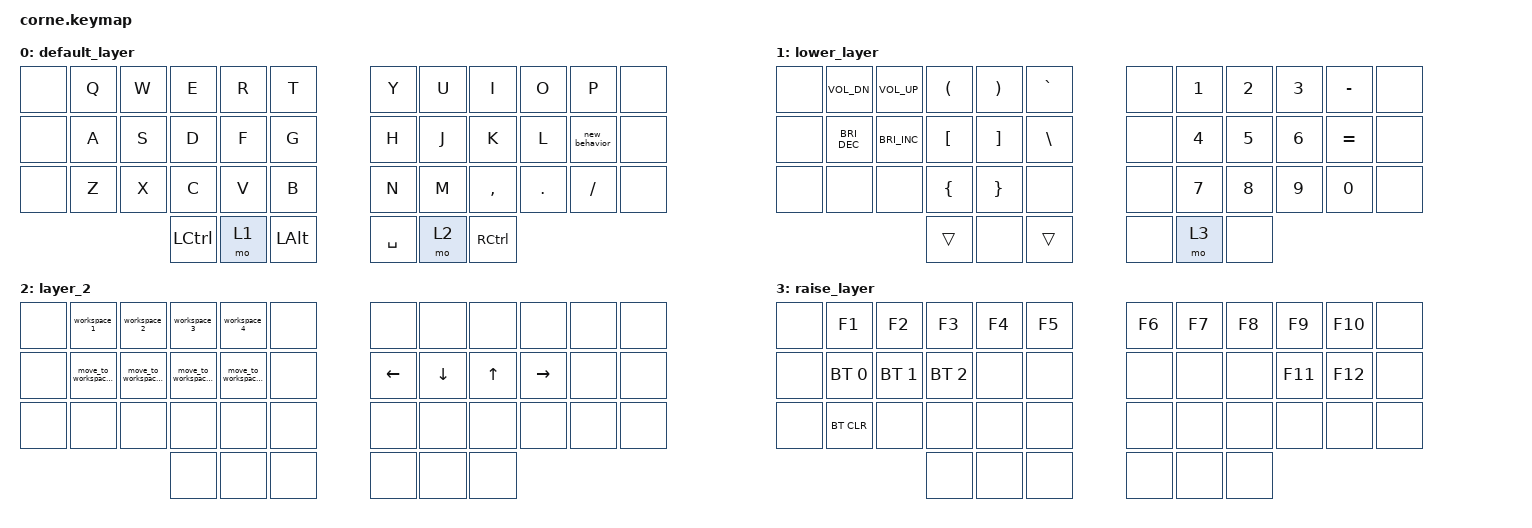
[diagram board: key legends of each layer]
/*
 * Copyright (c) 2020 The ZMK Contributors
 *
 * SPDX-License-Identifier: MIT
 */

#include <behaviors.dtsi>
#include <dt-bindings/zmk/bt.h>
#include <dt-bindings/zmk/keys.h>

/ {
    combos {
        compatible = "zmk,combos";

        Enter {
            bindings = <&kp ENTER>;
            key-positions = <22 21>;
        };

        Esc {
            bindings = <&kp ESC>;
            key-positions = <1 2>;
        };

        Tab {
            bindings = <&kp TAB>;
            key-positions = <13 14>;
        };

        Backspace {
            bindings = <&kp BACKSPACE>;
            key-positions = <10 9>;
        };

        left_shift {
            bindings = <&kp LEFT_SHIFT>;
            key-positions = <25 26>;
        };

        right_shift {
            bindings = <&kp RIGHT_SHIFT>;
            key-positions = <34 33>;
        };
    };

    macros {
        move_to_workspace_1: new_macro {
            compatible = "zmk,behavior-macro";
            #binding-cells = <0>;
            bindings = <&kp LS(LA(NUMBER_1))>;
            label = "NEW_MACRO";
        };

        move_to_workspace_2: move_to_workspace_2 {
            compatible = "zmk,behavior-macro";
            #binding-cells = <0>;
            bindings = <&kp LS(LA(NUMBER_2))>;
            label = "MOVE_TO_WORKSPACE_2";
        };

        move_to_workspace_3: move_to_workspace_3 {
            compatible = "zmk,behavior-macro";
            #binding-cells = <0>;
            bindings = <&kp LS(LA(NUMBER_3))>;
            label = "MOVE_TO_WORKSPACE_3";
        };

        move_to_workspace_4: move_to_workspace_4 {
            compatible = "zmk,behavior-macro";
            #binding-cells = <0>;
            bindings = <&kp LS(LA(NUMBER_4))>;
            label = "MOVE_TO_WORKSPACE_4";
        };

        workspace_1: workspace_1 {
            compatible = "zmk,behavior-macro";
            #binding-cells = <0>;
            bindings = <&kp LA(NUMBER_1)>;
            label = "WORKSPACE_1";
        };

        workspace_2: workspace_2 {
            compatible = "zmk,behavior-macro";
            #binding-cells = <0>;
            bindings = <&kp LA(NUMBER_2)>;
            label = "WORKSPACE_2";
        };

        workspace_3: workspace_3 {
            compatible = "zmk,behavior-macro";
            #binding-cells = <0>;
            bindings = <&kp LA(NUMBER_3)>;
            label = "WORKSPACE_3";
        };

        workspace_4: workspace_4 {
            compatible = "zmk,behavior-macro";
            #binding-cells = <0>;
            bindings = <&kp LA(NUMBER_4)>;
            label = "WORKSPACE_4";
        };
    };

    behaviors {
        new_behavior: new_behavior {
            compatible = "zmk,behavior-tap-dance";
            label = "NEW_BEHAVIOR";
            #binding-cells = <0>;
            bindings = <&kp SEMICOLON>, <&kp SQT>, <&kp DOUBLE_QUOTES>;

            tapping-term-ms = <400>;
        };
    };

    keymap {
        compatible = "zmk,keymap";

        default_layer {
            bindings = <
&none  &kp Q  &kp W  &kp E      &kp R  &kp T           &kp Y      &kp U  &kp I      &kp O    &kp P          &none
&none  &kp A  &kp S  &kp D      &kp F  &kp G           &kp H      &kp J  &kp K      &kp L    &new_behavior  &none
&none  &kp Z  &kp X  &kp C      &kp V  &kp B           &kp N      &kp M  &kp COMMA  &kp DOT  &kp FSLH       &none
                     &kp LCTRL  &mo 1  &kp LEFT_ALT    &kp SPACE  &mo 2  &kp RCTRL
            >;
        };

        lower_layer {
            bindings = <
&none  &kp C_VOL_DN   &kp C_VOLUME_UP       &kp LPAR  &kp RPAR  &kp GRAVE        &none  &kp NUMBER_1  &kp NUMBER_2  &kp NUMBER_3  &kp MINUS     &none
&none  &kp C_BRI_DEC  &kp C_BRIGHTNESS_INC  &kp LBKT  &kp RBKT  &kp BACKSLASH    &none  &kp NUMBER_4  &kp NUMBER_5  &kp NUMBER_6  &kp EQUAL     &none
&none  &none          &none                 &kp LBRC  &kp RBRC  &none            &none  &kp NUMBER_7  &kp NUMBER_8  &kp NUMBER_9  &kp NUMBER_0  &none
                                            &trans    &none     &trans           &none  &mo 3         &none
            >;
        };

        layer_2 {
            bindings = <
&none  &workspace_1          &workspace_2          &workspace_3          &workspace_4          &none    &none     &none     &none         &none      &none  &none
&none  &move_to_workspace_1  &move_to_workspace_2  &move_to_workspace_3  &move_to_workspace_4  &none    &kp LEFT  &kp DOWN  &kp UP_ARROW  &kp RIGHT  &none  &none
&none  &none                 &none                 &none                 &none                 &none    &none     &none     &none         &none      &none  &none
                                                   &none                 &none                 &none    &none     &none     &none
            >;
        };

        raise_layer {
            bindings = <
&none  &kp F1        &kp F2        &kp F3        &kp F4  &kp F5    &kp F6  &kp F7  &kp F8  &kp F9   &kp F10  &none
&none  &bt BT_SEL 0  &bt BT_SEL 1  &bt BT_SEL 2  &none   &none     &none   &none   &none   &kp F11  &kp F12  &none
&none  &bt BT_CLR    &none         &none         &none   &none     &none   &none   &none   &none    &none    &none
                                   &none         &none   &none     &none   &none   &none
            >;
        };
    };
};

